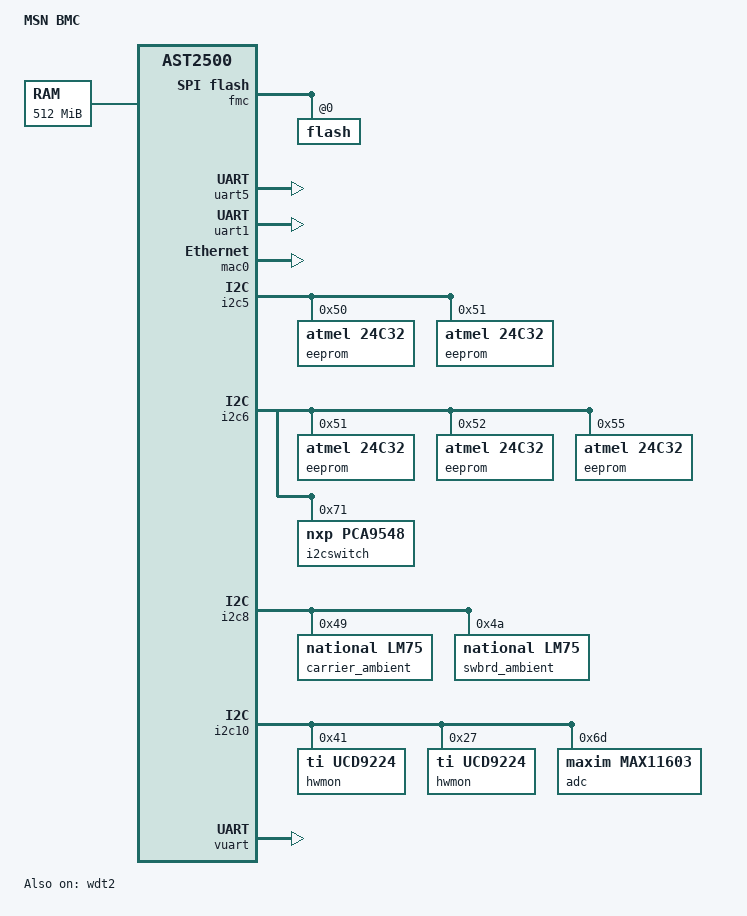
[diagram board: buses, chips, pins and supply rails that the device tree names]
/dts-v1/;

#include <dt-bindings/gpio/aspeed-gpio.h>
#include "aspeed-g5.dtsi"

/ {
	model = "MSN BMC";
	compatible = "mellanox,msn-bmc", "aspeed,ast2500";

	aliases {
		serial0 = &uart1;
		serial4 = &uart5;
	};

	chosen {
		stdout-path = &uart5;
		bootargs = "console=ttyS4,115200n8 earlyprintk";
	};

	memory {
		/* 512MiB SDRAM DDR4 @ 0x8000_0000 */
		reg = <0x80000000 0x20000000>;
	};

};

&fmc {
	status = "okay";
	flash@0 {
		status = "okay";
		m25p,fast-read;
#include "aspeed-bmc-mellanox-msn-flash-layout.dtsi"
	};
};

&uart5 {
	status = "okay";
};

&uart1 {
	status = "okay";
	pinctrl-names = "default";
	pinctrl-0 = <&pinctrl_txd1_default
		     &pinctrl_rxd1_default
		     &pinctrl_nrts1_default
		     &pinctrl_ndtr1_default
		     &pinctrl_ndsr1_default
		     &pinctrl_ncts1_default
		     &pinctrl_ndcd1_default
		     &pinctrl_nri1_default>;
};

&mac0 {
	status = "okay";
	use-ncsi;
};

&i2c5 {
	status = "okay";

	eeprom@50 {
		compatible = "atmel,24c32";
		reg = <0x50>;
	};

	eeprom@51 {
		compatible = "atmel,24c32";
		reg = <0x51>;
	};
};

&i2c6 {
	status = "okay";

	eeprom@51 {
		compatible = "atmel,24c32";
		reg = <0x51>;
	};

	eeprom@52 {
		compatible = "atmel,24c32";
		reg = <0x52>;
	};

	eeprom@55 {
		compatible = "atmel,24c32";
		reg = <0x55>;
	};

	i2cswitch@71 {
		compatible = "nxp,pca9548";
		#address-cells = <1>;
		#size-cells = <0>;
		reg = <0x71>;
	};
};

&i2c8 {
	status = "okay";

	carrier_ambient: lm75@49 {
		#thermal-sensor-cells = <0>;
		compatible = "national,lm75";
		reg = <0x49>;
	};

	swbrd_ambient: lm75@4a {
		#thermal-sensor-cells = <0>;
		compatible = "national,lm75";
		reg = <0x4a>;
	};
};

&i2c10 {
	status = "okay";

	hwmon@41 {
		compatible = "ti,ucd9224";
		reg = <0x41>;
	};

	hwmon@27 {
		compatible = "ti,ucd9224";
		reg = <0x27>;
	};

	adc@6d {
		compatible = "maxim,max11603";
		reg = <0x6d>;
		adc0: iio-device@0 {
			#io-channel-cells = <1>;
			io-channels = <&adc0 0>, <&adc0 1>, <&adc0 2>,
				      <&adc0 3>, <&adc0 4>, <&adc0 5>,
				      <&adc0 6>, <&adc0 7>;
		};
	};
};

&vuart {
	status = "okay";
};

&wdt2 {
	status = "okay";
};

